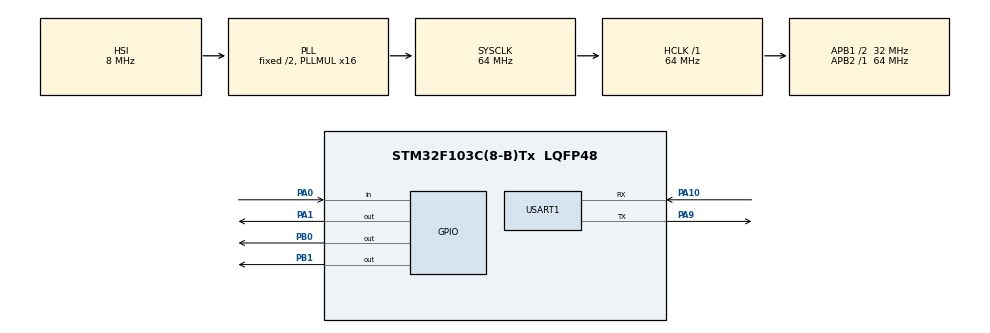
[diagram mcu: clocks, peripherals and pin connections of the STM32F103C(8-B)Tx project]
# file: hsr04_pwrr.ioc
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Mcu.Family=STM32F1
Mcu.Name=STM32F103C(8-B)Tx
Mcu.Package=LQFP48
NVIC.PriorityGroup=NVIC_PRIORITYGROUP_4
NVIC.TIM1_UP_IRQn=true\:0\:0\:false\:false\:true\:true\:true
PA0-WKUP.GPIO_PuPd=GPIO_PULLDOWN
PA0-WKUP.Signal=GPIO_Input
PA1.Signal=GPIO_Output
PA10.Mode=Asynchronous
PA10.Signal=USART1_RX
PA9.Mode=Asynchronous
PA9.Signal=USART1_TX
PB0.Signal=GPIO_Output
PB1.Signal=GPIO_Output
ProjectManager.HeapSize=0x200
ProjectManager.StackSize=0x400
ProjectManager.TargetToolchain=MDK-ARM V5.32
RCC.AHBFreq_Value=64000000
RCC.APB1CLKDivider=RCC_HCLK_DIV2
RCC.APB1Freq_Value=32000000
RCC.APB1TimFreq_Value=64000000
RCC.APB2Freq_Value=64000000
RCC.APB2TimFreq_Value=64000000
RCC.HCLKFreq_Value=64000000
RCC.PLLMUL=RCC_PLL_MUL16
RCC.SYSCLKFreq_VALUE=64000000
RCC.SYSCLKSource=RCC_SYSCLKSOURCE_PLLCLK
RCC.USBFreq_Value=64000000
USART1.VirtualMode=VM_ASYNC
VP_SYS_VS_ND.Mode=No_Debug
VP_TIM1_VS_ClockSourceINT.Mode=Internal
VP_TIM1_VS_ClockSourceITR.Mode=TriggerSource_ITR1
VP_TIM1_VS_ControllerModeGated.Mode=Gated Mode
board=custom

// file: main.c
/* USER CODE BEGIN Header */
/**
  ******************************************************************************
  * @file           : main.c
  * @brief          : Main program body
  ******************************************************************************
  * @attention
  *
  * <h2><center>&copy; Copyright (c) 2022 STMicroelectronics.
  * All rights reserved.</center></h2>
  *
  * This software component is licensed by ST under BSD 3-Clause license,
  * the "License"; You may not use this file except in compliance with the
  * License. You may obtain a copy of the License at:
  *                        opensource.org/licenses/BSD-3-Clause
  *
  ******************************************************************************
  */
/* USER CODE END Header */
#include "main.h"

#include <stdio.h>
#include <string.h>

TIM_HandleTypeDef htim1;

TIM_HandleTypeDef htim2;

UART_HandleTypeDef huart1;

void SystemClock_Config(void);
static void MX_GPIO_Init(void);
static void MX_TIM1_Init(void);
static void MX_USART1_UART_Init(void);

/* USER CODE BEGIN 0 */

#define RED_LED_SET              HAL_GPIO_WritePin(GPIOB, GPIO_PIN_1, GPIO_PIN_SET)
#define RED_LED_RESET            HAL_GPIO_WritePin(GPIOB, GPIO_PIN_1, GPIO_PIN_RESET)
#define GREEN_LED_SET            HAL_GPIO_WritePin(GPIOB, GPIO_PIN_0, GPIO_PIN_SET)
#define GREEN_LED_RESET          HAL_GPIO_WritePin(GPIOB, GPIO_PIN_0, GPIO_PIN_RESET)
#define TRIG_PIN_SET           	 HAL_GPIO_WritePin(GPIOA, GPIO_PIN_1, GPIO_PIN_SET)//HSR04 SENSOR TRIG_PIN_SET
#define TRIG_PIN_RESET           HAL_GPIO_WritePin(GPIOA, GPIO_PIN_1, GPIO_PIN_RESET)//HSR04 SENSOR TRIG_PIN_RESET
#define ECHO_PIN                 HAL_GPIO_ReadPin(GPIOA,GPIO_PIN_0)//HSR04 SENSOR ECHO PIN

void delayUS(uint32_t time)
{

	TIM2->CNT = 0;
//  uint32_t newTime=time*64;
 	while(time>TIM2->CNT)
	{
		;
	}
}

unsigned char uart_buffer[200];

float HCSR04_Read_Value;

float HCSR04_Read(){
	uint32_t time=0;
	float tempDistance=0;

	TRIG_PIN_RESET;
	delayUS(10);
	TRIG_PIN_SET;
	delayUS(10);
	TRIG_PIN_RESET;
	delayUS(10);

	while(!(ECHO_PIN ));

	while(ECHO_PIN ){
		time++;
		delayUS(1);
	}

	tempDistance=(float)time*0.034;
	if(tempDistance>400) tempDistance=400;
	if(tempDistance<2) tempDistance=2;
	delayUS(10000);

	return tempDistance;
}

/* USER CODE END 0 */

int main(void)
{

  /* MCU Configuration--------------------------------------------------------*/

  /* Reset of all peripherals, Initializes the Flash interface and the Systick. */
  HAL_Init();

  /* Configure the system clock */
  SystemClock_Config();

  /* Initialize all configured peripherals */
  MX_GPIO_Init();
  MX_TIM1_Init();
  MX_USART1_UART_Init();

  /* Infinite loop */
  while (1)
  {
		HCSR04_Read_Value = HCSR04_Read();

		if(HCSR04_Read_Value>20)
		{
			GREEN_LED_RESET;
			RED_LED_SET;
		}

		else
    {
			GREEN_LED_SET;
			RED_LED_RESET;
		}

		memset((char*)uart_buffer,0,sizeof(uart_buffer));

		snprintf((char*)uart_buffer,sizeof(uart_buffer),"distance %f \r\n",HCSR04_Read_Value);

		HAL_UART_Transmit(&huart1,(unsigned char*)uart_buffer,strlen((const char*)uart_buffer),5000);

	  SysTick->CTRL &= ~SysTick_CTRL_ENABLE_Msk;

	  HAL_PWR_EnterSLEEPMode(1,PWR_SLEEPENTRY_WFI); // SLEEP MODE AKTIF

	  SysTick->CTRL  = SysTick_CTRL_CLKSOURCE_Msk | SysTick_CTRL_TICKINT_Msk   | SysTick_CTRL_ENABLE_Msk;

  }
}

void SystemClock_Config(void)
{
  RCC_OscInitTypeDef RCC_OscInitStruct = {0};
  RCC_ClkInitTypeDef RCC_ClkInitStruct = {0};

  /** Initializes the RCC Oscillators according to the specified parameters
  * in the RCC_OscInitTypeDef structure.
  */
  RCC_OscInitStruct.OscillatorType = RCC_OSCILLATORTYPE_HSI;
  RCC_OscInitStruct.HSIState = RCC_HSI_ON;
  RCC_OscInitStruct.HSICalibrationValue = RCC_HSICALIBRATION_DEFAULT;
  RCC_OscInitStruct.PLL.PLLState = RCC_PLL_ON;
  RCC_OscInitStruct.PLL.PLLSource = RCC_PLLSOURCE_HSI_DIV2;
  RCC_OscInitStruct.PLL.PLLMUL = RCC_PLL_MUL16;
  if (HAL_RCC_OscConfig(&RCC_OscInitStruct) != HAL_OK)
  {
    Error_Handler();
  }
  /** Initializes the CPU, AHB and APB buses clocks
  */
  RCC_ClkInitStruct.ClockType = RCC_CLOCKTYPE_HCLK|RCC_CLOCKTYPE_SYSCLK |RCC_CLOCKTYPE_PCLK1|RCC_CLOCKTYPE_PCLK2;
  RCC_ClkInitStruct.SYSCLKSource = RCC_SYSCLKSOURCE_PLLCLK;
  RCC_ClkInitStruct.AHBCLKDivider = RCC_SYSCLK_DIV1;
  RCC_ClkInitStruct.APB1CLKDivider = RCC_HCLK_DIV2;
  RCC_ClkInitStruct.APB2CLKDivider = RCC_HCLK_DIV1;

  if (HAL_RCC_ClockConfig(&RCC_ClkInitStruct, FLASH_LATENCY_2) != HAL_OK)
  {
    Error_Handler();
  }
}

static void MX_TIM1_Init(void)
{

  TIM_ClockConfigTypeDef sClockSourceConfig = {0};
  TIM_SlaveConfigTypeDef sSlaveConfig = {0};
  TIM_MasterConfigTypeDef sMasterConfig = {0};

  htim1.Instance = TIM1;
  htim1.Init.Prescaler = 64000-1;
  htim1.Init.CounterMode = TIM_COUNTERMODE_UP;
  htim1.Init.Period = 5000;//5 SN SLEEP MODE
  htim1.Init.ClockDivision = TIM_CLOCKDIVISION_DIV1;
  htim1.Init.RepetitionCounter = 0;
  htim1.Init.AutoReloadPreload = TIM_AUTORELOAD_PRELOAD_DISABLE;
  if (HAL_TIM_Base_Init(&htim1) != HAL_OK)
  {
    Error_Handler();
  }

  sClockSourceConfig.ClockSource = TIM_CLOCKSOURCE_INTERNAL;
  if (HAL_TIM_ConfigClockSource(&htim1, &sClockSourceConfig) != HAL_OK)
  {
    Error_Handler();
  }

	//HAL_TIM_Base_Start(&htim1);
	HAL_TIM_Base_Start_IT(&htim1);

	__HAL_RCC_TIM2_CLK_ENABLE();

	htim2.Instance = TIM2;
  htim2.Init.Prescaler = 128-1;
  htim2.Init.CounterMode = TIM_COUNTERMODE_UP;
  htim2.Init.Period = 65000;
  htim2.Init.ClockDivision = TIM_CLOCKDIVISION_DIV1;
  htim2.Init.RepetitionCounter = 0;
  htim2.Init.AutoReloadPreload = TIM_AUTORELOAD_PRELOAD_DISABLE;
  if (HAL_TIM_Base_Init(&htim2) != HAL_OK)
  {
    Error_Handler();
  }

  sClockSourceConfig.ClockSource = TIM_CLOCKSOURCE_INTERNAL;
  if (HAL_TIM_ConfigClockSource(&htim2, &sClockSourceConfig) != HAL_OK)
  {
    Error_Handler();
  }

  HAL_TIM_Base_Start(&htim2);

}

static void MX_USART1_UART_Init(void)
{

  huart1.Instance = USART1;
  huart1.Init.BaudRate = 115200;
  huart1.Init.WordLength = UART_WORDLENGTH_8B;
  huart1.Init.StopBits = UART_STOPBITS_1;
  huart1.Init.Parity = UART_PARITY_NONE;
  huart1.Init.Mode = UART_MODE_TX_RX;
  huart1.Init.HwFlowCtl = UART_HWCONTROL_NONE;
  huart1.Init.OverSampling = UART_OVERSAMPLING_16;
  if (HAL_UART_Init(&huart1) != HAL_OK)
  {
    Error_Handler();
  }

	 //HAL_UART_Transmit(&huart1, "sdfgdfvb",8,5000);

}

static void MX_GPIO_Init(void)
{
  GPIO_InitTypeDef GPIO_InitStruct = {0};

  /* GPIO Ports Clock Enable */
  __HAL_RCC_GPIOA_CLK_ENABLE();
  __HAL_RCC_GPIOB_CLK_ENABLE();

  /*Configure GPIO pin Output Level */
  HAL_GPIO_WritePin(GPIOA, GPIO_PIN_1, GPIO_PIN_RESET);

  /*Configure GPIO pin Output Level */
  HAL_GPIO_WritePin(GPIOB, GPIO_PIN_0|GPIO_PIN_1, GPIO_PIN_RESET);

  /*Configure GPIO pin : PA0 */
  GPIO_InitStruct.Pin = GPIO_PIN_0;
  GPIO_InitStruct.Mode = GPIO_MODE_INPUT;
  GPIO_InitStruct.Pull = GPIO_PULLDOWN;
  HAL_GPIO_Init(GPIOA, &GPIO_InitStruct);

  /*Configure GPIO pin : PA1 */
  GPIO_InitStruct.Pin = GPIO_PIN_1;
  GPIO_InitStruct.Mode = GPIO_MODE_OUTPUT_PP;
  GPIO_InitStruct.Pull = GPIO_NOPULL;
  GPIO_InitStruct.Speed = GPIO_SPEED_FREQ_LOW;
  HAL_GPIO_Init(GPIOA, &GPIO_InitStruct);

  /*Configure GPIO pins : PB0 PB1 */
  GPIO_InitStruct.Pin = GPIO_PIN_0|GPIO_PIN_1;
  GPIO_InitStruct.Mode = GPIO_MODE_OUTPUT_PP;
  GPIO_InitStruct.Pull = GPIO_NOPULL;
  GPIO_InitStruct.Speed = GPIO_SPEED_FREQ_LOW;
  HAL_GPIO_Init(GPIOB, &GPIO_InitStruct);

}

void Error_Handler(void)
{
  __disable_irq();
  while (1)
  {
  }
}

/************************ (C) COPYRIGHT STMicroelectronics *****END OF FILE****/
